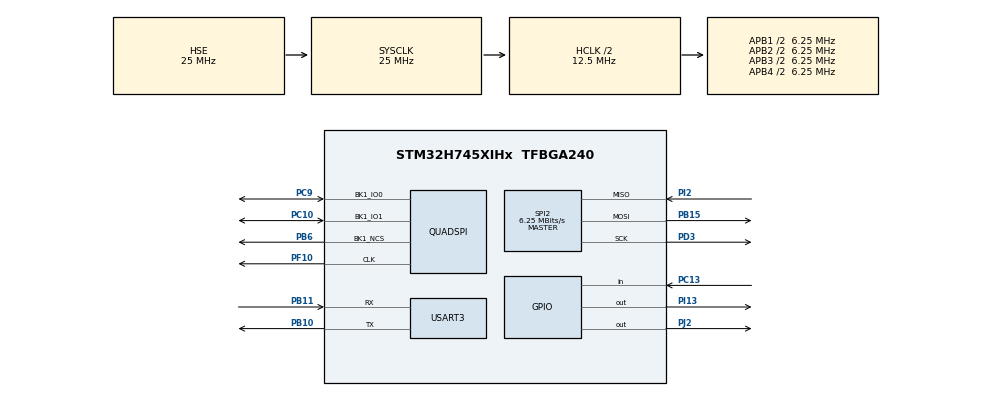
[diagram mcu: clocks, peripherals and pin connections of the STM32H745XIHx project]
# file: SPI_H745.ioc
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CortexM4.IPs=FATFS_M4\:I,FREERTOS_M4\:I,IWDG2\:I,RCC,USB_DEVICE_M4\:I,USB_HOST_M4\:I,WWDG2\:I,DMA,BDMA,MDMA,NVIC2\:I,ETH\:I,FDCAN1\:I,FDCAN2\:I,FMC\:I,SAI2\:I,SDMMC1\:I,LTDC\:I,USB_OTG_FS\:I,SAI4\:I,DEBUG,PDM2PCM_M4\:I,PWR,RESMGR_UTILITY,SYS_M4\:I,CORTEX_M4\:I,OPENAMP_M4\:I,VREFBUF
CortexM7.IPs=FATFS_M7\:I,FREERTOS_M7\:I,IWDG1\:I,RCC\:I,USB_DEVICE_M7\:I,USB_HOST_M7\:I,WWDG1\:I,DMA\:I,BDMA\:I,MDMA\:I,NVIC1\:I,CORTEX_M7\:I,DEBUG\:I,PDM2PCM_M7\:I,PWR\:I,RESMGR_UTILITY\:I,SYS\:I,OPENAMP_M7\:I,VREFBUF\:I,SPI2\:I,USART3\:I,QUADSPI\:I,I2C1\:I
CortexM7.Pins=PC13,PI13,PJ2
Dma.Request0=SPI2_RX
Dma.Request1=SPI2_TX
Dma.SPI2_RX.0.Direction=DMA_PERIPH_TO_MEMORY
Dma.SPI2_RX.0.EventEnable=DISABLE
Dma.SPI2_RX.0.FIFOMode=DMA_FIFOMODE_DISABLE
Dma.SPI2_RX.0.Instance=DMA1_Stream0
Dma.SPI2_RX.0.MemDataAlignment=DMA_MDATAALIGN_BYTE
Dma.SPI2_RX.0.MemInc=DMA_MINC_ENABLE
Dma.SPI2_RX.0.Mode=DMA_NORMAL
Dma.SPI2_RX.0.PeriphDataAlignment=DMA_PDATAALIGN_BYTE
Dma.SPI2_RX.0.PeriphInc=DMA_PINC_DISABLE
Dma.SPI2_RX.0.Polarity=HAL_DMAMUX_REQ_GEN_RISING
Dma.SPI2_RX.0.Priority=DMA_PRIORITY_LOW
Dma.SPI2_RX.0.RequestNumber=1
Dma.SPI2_RX.0.SignalID=NONE
Dma.SPI2_RX.0.SyncEnable=DISABLE
Dma.SPI2_RX.0.SyncPolarity=HAL_DMAMUX_SYNC_NO_EVENT
Dma.SPI2_RX.0.SyncRequestNumber=1
Dma.SPI2_RX.0.SyncSignalID=NONE
Dma.SPI2_TX.1.Direction=DMA_MEMORY_TO_PERIPH
Dma.SPI2_TX.1.EventEnable=DISABLE
Dma.SPI2_TX.1.FIFOMode=DMA_FIFOMODE_DISABLE
Dma.SPI2_TX.1.Instance=DMA1_Stream1
Dma.SPI2_TX.1.MemDataAlignment=DMA_MDATAALIGN_BYTE
Dma.SPI2_TX.1.MemInc=DMA_MINC_ENABLE
Dma.SPI2_TX.1.Mode=DMA_NORMAL
Dma.SPI2_TX.1.PeriphDataAlignment=DMA_PDATAALIGN_BYTE
Dma.SPI2_TX.1.PeriphInc=DMA_PINC_DISABLE
Dma.SPI2_TX.1.Polarity=HAL_DMAMUX_REQ_GEN_RISING
Dma.SPI2_TX.1.Priority=DMA_PRIORITY_LOW
Dma.SPI2_TX.1.RequestNumber=1
Dma.SPI2_TX.1.SignalID=NONE
Dma.SPI2_TX.1.SyncEnable=DISABLE
Dma.SPI2_TX.1.SyncPolarity=HAL_DMAMUX_SYNC_NO_EVENT
Dma.SPI2_TX.1.SyncRequestNumber=1
Dma.SPI2_TX.1.SyncSignalID=NONE
Mcu.Family=STM32H7
Mcu.Name=STM32H745XIHx
Mcu.Package=TFBGA240
Mdma.MDMA_Channel0.QUADSPI_FIFO_TH.0.BlockCount=0
Mdma.MDMA_Channel0.QUADSPI_FIFO_TH.0.BlockDataLength=0
Mdma.MDMA_Channel0.QUADSPI_FIFO_TH.0.BufferTransferLength=1
Mdma.MDMA_Channel0.QUADSPI_FIFO_TH.0.CircularMode=MDMA_LINEAR_LIST
Mdma.MDMA_Channel0.QUADSPI_FIFO_TH.0.DataAlignment=MDMA_DATAALIGN_PACKENABLE
Mdma.MDMA_Channel0.QUADSPI_FIFO_TH.0.DestBlockAddressOffset=0
Mdma.MDMA_Channel0.QUADSPI_FIFO_TH.0.DestBurst=MDMA_DEST_BURST_SINGLE
Mdma.MDMA_Channel0.QUADSPI_FIFO_TH.0.DestDataSize=MDMA_DEST_DATASIZE_BYTE
Mdma.MDMA_Channel0.QUADSPI_FIFO_TH.0.DestinationInc=MDMA_DEST_INC_BYTE
Mdma.MDMA_Channel0.QUADSPI_FIFO_TH.0.DstAddress=0
Mdma.MDMA_Channel0.QUADSPI_FIFO_TH.0.Endianness=MDMA_LITTLE_ENDIANNESS_PRESERVE
Mdma.MDMA_Channel0.QUADSPI_FIFO_TH.0.Instance=MDMA_Channel0
Mdma.MDMA_Channel0.QUADSPI_FIFO_TH.0.MaskAddress=0
Mdma.MDMA_Channel0.QUADSPI_FIFO_TH.0.MaskData=0
Mdma.MDMA_Channel0.QUADSPI_FIFO_TH.0.Priority=MDMA_PRIORITY_LOW
Mdma.MDMA_Channel0.QUADSPI_FIFO_TH.0.Rank=First
Mdma.MDMA_Channel0.QUADSPI_FIFO_TH.0.SourceBlockAddressOffset=0
Mdma.MDMA_Channel0.QUADSPI_FIFO_TH.0.SourceBurst=MDMA_SOURCE_BURST_SINGLE
Mdma.MDMA_Channel0.QUADSPI_FIFO_TH.0.SourceDataSize=MDMA_SRC_DATASIZE_BYTE
Mdma.MDMA_Channel0.QUADSPI_FIFO_TH.0.SourceInc=MDMA_SRC_INC_BYTE
Mdma.MDMA_Channel0.QUADSPI_FIFO_TH.0.SrcAddress=0
Mdma.MDMA_Channel0.QUADSPI_FIFO_TH.0.TransferTriggerMode=MDMA_BUFFER_TRANSFER
Mdma.MDMA_Channel0.Request0=QUADSPI_FIFO_TH
Mdma.MDMA_Channel0.RequestsNb=1
Mdma.RequestSet0=MDMA_Channel0
Mdma.RequestSetsNb=1
NVIC1.DMA1_Stream0_IRQn=true\:0\:0\:false\:false\:true\:false\:true
NVIC1.DMA1_Stream1_IRQn=true\:0\:0\:false\:false\:true\:false\:true
NVIC1.MDMA_IRQn=true\:0\:0\:false\:false\:true\:false\:true
NVIC1.PriorityGroup=NVIC_PRIORITYGROUP_4
NVIC1.QUADSPI_IRQn=true\:0\:0\:false\:false\:true\:true\:true
NVIC1.SPI2_IRQn=true\:0\:0\:false\:false\:true\:true\:true
NVIC2.PriorityGroup=NVIC_PRIORITYGROUP_4
PB10.Mode=Asynchronous
PB10.PinAttribute=CortexM7
PB10.Signal=USART3_TX
PB11.Mode=Asynchronous
PB11.PinAttribute=CortexM7
PB11.Signal=USART3_RX
PB15.GPIO_Speed=GPIO_SPEED_FREQ_HIGH
PB15.Mode=Full_Duplex_Master
PB15.PinAttribute=CortexM7
PB15.Signal=SPI2_MOSI
PB4\ (NJTRST).GPIO_Speed=GPIO_SPEED_FREQ_HIGH
PB4\ (NJTRST).PinAttribute=CortexM7
PB4\ (NJTRST).Signal=SPI2_NSS
PB6.Mode=Single Bank 1 2IOs
PB6.PinAttribute=CortexM7
PB6.Signal=QUADSPI_BK1_NCS
PC10.Mode=Single Bank 1 2IOs
PC10.PinAttribute=CortexM7
PC10.Signal=QUADSPI_BK1_IO1
PC13.PinAttribute=CortexM7
PC13.Signal=GPIO_Input
PC9.Mode=Single Bank 1 2IOs
PC9.PinAttribute=CortexM7
PC9.Signal=QUADSPI_BK1_IO0
PD3.GPIO_Speed=GPIO_SPEED_FREQ_HIGH
PD3.Mode=Full_Duplex_Master
PD3.PinAttribute=CortexM7
PD3.Signal=SPI2_SCK
PF10.Mode=Single Bank 1 2IOs
PF10.PinAttribute=CortexM7
PF10.Signal=QUADSPI_CLK
PH0-OSC_IN\ (PH0).Mode=HSE-External-Oscillator
PH0-OSC_IN\ (PH0).PinAttribute=CortexM7
PH0-OSC_IN\ (PH0).Signal=RCC_OSC_IN
PH1-OSC_OUT\ (PH1).Mode=HSE-External-Oscillator
PH1-OSC_OUT\ (PH1).PinAttribute=CortexM7
PH1-OSC_OUT\ (PH1).Signal=RCC_OSC_OUT
PI13.PinAttribute=CortexM7
PI13.Signal=GPIO_Output
PI2.GPIO_Speed=GPIO_SPEED_FREQ_HIGH
PI2.Mode=Full_Duplex_Master
PI2.PinAttribute=CortexM7
PI2.Signal=SPI2_MISO
PJ2.PinAttribute=CortexM7
PJ2.Signal=GPIO_Output
ProjectManager.HeapSize=M4-0x200,M7-0x200
ProjectManager.StackSize=M4-0x400,M7-0x400
ProjectManager.TargetToolchain=STM32CubeIDE
QUADSPI.ClockPrescaler=200
RCC.ADCFreq_Value=50390625
RCC.APB1Freq_Value=6250000
RCC.APB2Freq_Value=6250000
RCC.APB3Freq_Value=6250000
RCC.APB4Freq_Value=6250000
RCC.CortexFreq_Value=25000000
RCC.D1PPRE=RCC_APB3_DIV2
RCC.D2PPRE1=RCC_APB1_DIV2
RCC.D2PPRE2=RCC_APB2_DIV2
RCC.D3PPRE=RCC_APB4_DIV2
RCC.DIVM1=5
RCC.DIVN1=160
RCC.DIVN3=192
RCC.DIVQ1=4
RCC.DIVR1=4
RCC.HCLKFreq_Value=12500000
RCC.HPRE=RCC_HCLK_DIV2
RCC.PLL1_VCI_Range-AdvancedSettings=RCC_PLL1VCIRANGE_0
RCC.PLL2FRACN=0
RCC.PLL3FRACN=0
RCC.PLLFRACN=0
RCC.PLLSourceVirtual=RCC_PLLSOURCE_HSE
RCC.PWR_Regulator_Voltage_Scale=PWR_REGULATOR_VOLTAGE_SCALE1
RCC.SYSCLKFreq_VALUE=25000000
RCC.SYSCLKSource=RCC_SYSCLKSOURCE_HSE
RCC.SupplySource=PWR_DIRECT_SMPS_SUPPLY
RCC.USBFreq_Value=200000000
SPI2.BaudRatePrescaler=SPI_BAUDRATEPRESCALER_32
SPI2.CalculateBaudRate=6.25 MBits/s
SPI2.DataSize=SPI_DATASIZE_8BIT
SPI2.Direction=SPI_DIRECTION_2LINES
SPI2.FirstBit=SPI_FIRSTBIT_MSB
SPI2.Mode=SPI_MODE_MASTER
SPI2.NSSPMode=SPI_NSS_PULSE_DISABLE
SPI2.NSSPolarity=SPI_NSS_POLARITY_HIGH
SPI2.VirtualType=VM_MASTER
USART3.VirtualMode-Asynchronous=VM_ASYNC
VP_SYS_M4_VS_Systick.Mode=SysTick
board=STM32H745I-DISCO

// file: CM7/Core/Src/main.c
/* USER CODE BEGIN Header */
/**
  ******************************************************************************
  * @file           : main.c
  * @brief          : Main program body
  ******************************************************************************
  * @attention
  *
  * <h2><center>&copy; Copyright (c) 2023 STMicroelectronics.
  * All rights reserved.</center></h2>
  *
  * This software component is licensed by ST under BSD 3-Clause license,
  * the "License"; You may not use this file except in compliance with the
  * License. You may obtain a copy of the License at:
  *                        opensource.org/licenses/BSD-3-Clause
  *
  ******************************************************************************
  */
/* USER CODE END Header */
#include "main.h"

/* USER CODE BEGIN Includes */
#include <string.h>
#include <stdio.h>
/* USER CODE END Includes */

/* USER CODE BEGIN PTD */
//#ifdef __GNUC__
//
// #define PUTCHAR_PROTOTYPE int __io_putchar(int ch)
//
//#else
//  #define PUTCHAR_PROTOTYPE int fputc(int ch, FILE *f)
//
//#endif /* __GNUC__ */

#define FALSE 0
#define TRUE 1
/* USER CODE END PTD */

/* USER CODE BEGIN PD */

#ifndef HSEM_ID_0
#define HSEM_ID_0 (0U) /* HW semaphore 0*/
#endif
/* USER CODE END PD */

QSPI_HandleTypeDef hqspi;
MDMA_HandleTypeDef hmdma_quadspi_fifo_th;

SPI_HandleTypeDef hspi2;
DMA_HandleTypeDef hdma_spi2_rx;
DMA_HandleTypeDef hdma_spi2_tx;

UART_HandleTypeDef huart3;

void SystemClock_Config(void);
static void MX_GPIO_Init(void);
static void MX_DMA_Init(void);
static void MX_USART3_UART_Init(void);
static void MX_MDMA_Init(void);
static void MX_QUADSPI_Init(void);
static void MX_SPI2_Init(void);

/* USER CODE BEGIN 0 */
char Tx_Data[20]={0}, Rx_Data[20]={0},Rx_msg=0;
uint8_t flag=FALSE,i=0;
uint8_t pin_status=0;
/* USER CODE END 0 */

int main(void)
{
/* USER CODE BEGIN Boot_Mode_Sequence_0 */
//  int32_t timeout;
/* USER CODE END Boot_Mode_Sequence_0 */

/* USER CODE BEGIN Boot_Mode_Sequence_1 */
  /* Wait until CPU2 boots and enters in stop mode or timeout*/
//  timeout = 0xFFFF;
//  while((__HAL_RCC_GET_FLAG(RCC_FLAG_D2CKRDY) != RESET) && (timeout-- > 0));
//  if ( timeout < 0 )
//  {
//  Error_Handler();
//  }
/* USER CODE END Boot_Mode_Sequence_1 */
  /* MCU Configuration--------------------------------------------------------*/

  /* Reset of all peripherals, Initializes the Flash interface and the Systick. */
  HAL_Init();

  /* Configure the system clock */
  SystemClock_Config();
/* USER CODE BEGIN Boot_Mode_Sequence_2 */
///* When system initialization is finished, Cortex-M7 will release Cortex-M4 by means of
//HSEM notification */
///*HW semaphore Clock enable*/
//__HAL_RCC_HSEM_CLK_ENABLE();
///*Take HSEM */
//HAL_HSEM_FastTake(HSEM_ID_0);
///*Release HSEM in order to notify the CPU2(CM4)*/
//HAL_HSEM_Release(HSEM_ID_0,0);
///* wait until CPU2 wakes up from stop mode */
//timeout = 0xFFFF;
//while((__HAL_RCC_GET_FLAG(RCC_FLAG_D2CKRDY) == RESET) && (timeout-- > 0));
//if ( timeout < 0 )
//{
//Error_Handler();
//}
/* USER CODE END Boot_Mode_Sequence_2 */

  /* Initialize all configured peripherals */
  MX_GPIO_Init();
  MX_DMA_Init();
  MX_USART3_UART_Init();
  MX_MDMA_Init();
  MX_QUADSPI_Init();
  MX_SPI2_Init();
  /* USER CODE BEGIN 2 */
  sprintf((char *)Tx_Data, "ready to send\r\n");
  HAL_SPI_Transmit_DMA(&hspi2,(uint8_t *)Tx_Data,15);
  /* USER CODE END 2 */

  /* Infinite loop */
  /* USER CODE BEGIN WHILE */
  while (1)
  {
	  pin_status= HAL_GPIO_ReadPin(GPIOC, GPIO_PIN_13);

	  if (pin_status)
	  {
		  HAL_SPI_Receive_DMA(&hspi2, (uint8_t *)Rx_Data, 15);
//		  sprintf((char *)Tx_Data, "data send toA\r\n");
//		  HAL_SPI_Transmit_DMA(&hspi2, (uint8_t *)Tx_Data, 15);
          flag=TRUE;
		 // HAL_SPI_Transmit(&hspi2,"A",1, 50);
	  }
	  if(flag)
	  {
		  HAL_SPI_Receive_DMA(&hspi2, (uint8_t *)Rx_Data, 15);
		  HAL_UART_Transmit(&huart3, Rx_Data, sizeof(Rx_Data), 50);
		  flag=FALSE;
	  }

	  HAL_Delay(500);
    /* USER CODE END WHILE */

  }
}

void SystemClock_Config(void)
{
  RCC_OscInitTypeDef RCC_OscInitStruct = {0};
  RCC_ClkInitTypeDef RCC_ClkInitStruct = {0};

  /** Supply configuration update enable
  */
  HAL_PWREx_ConfigSupply(PWR_DIRECT_SMPS_SUPPLY);
  /** Configure the main internal regulator output voltage
  */
  __HAL_PWR_VOLTAGESCALING_CONFIG(PWR_REGULATOR_VOLTAGE_SCALE1);

  while(!__HAL_PWR_GET_FLAG(PWR_FLAG_VOSRDY)) {}
  /** Initializes the RCC Oscillators according to the specified parameters
  * in the RCC_OscInitTypeDef structure.
  */
  RCC_OscInitStruct.OscillatorType = RCC_OSCILLATORTYPE_HSE;
  RCC_OscInitStruct.HSEState = RCC_HSE_ON;
  RCC_OscInitStruct.PLL.PLLState = RCC_PLL_ON;
  RCC_OscInitStruct.PLL.PLLSource = RCC_PLLSOURCE_HSE;
  RCC_OscInitStruct.PLL.PLLM = 5;
  RCC_OscInitStruct.PLL.PLLN = 160;
  RCC_OscInitStruct.PLL.PLLP = 2;
  RCC_OscInitStruct.PLL.PLLQ = 4;
  RCC_OscInitStruct.PLL.PLLR = 4;
  RCC_OscInitStruct.PLL.PLLRGE = RCC_PLL1VCIRANGE_2;
  RCC_OscInitStruct.PLL.PLLVCOSEL = RCC_PLL1VCOWIDE;
  RCC_OscInitStruct.PLL.PLLFRACN = 0;
  if (HAL_RCC_OscConfig(&RCC_OscInitStruct) != HAL_OK)
  {
    Error_Handler();
  }
  /** Initializes the CPU, AHB and APB buses clocks
  */
  RCC_ClkInitStruct.ClockType = RCC_CLOCKTYPE_HCLK|RCC_CLOCKTYPE_SYSCLK
                              |RCC_CLOCKTYPE_PCLK1|RCC_CLOCKTYPE_PCLK2
                              |RCC_CLOCKTYPE_D3PCLK1|RCC_CLOCKTYPE_D1PCLK1;
  RCC_ClkInitStruct.SYSCLKSource = RCC_SYSCLKSOURCE_HSE;
  RCC_ClkInitStruct.SYSCLKDivider = RCC_SYSCLK_DIV1;
  RCC_ClkInitStruct.AHBCLKDivider = RCC_HCLK_DIV2;
  RCC_ClkInitStruct.APB3CLKDivider = RCC_APB3_DIV2;
  RCC_ClkInitStruct.APB1CLKDivider = RCC_APB1_DIV2;
  RCC_ClkInitStruct.APB2CLKDivider = RCC_APB2_DIV2;
  RCC_ClkInitStruct.APB4CLKDivider = RCC_APB4_DIV2;

  if (HAL_RCC_ClockConfig(&RCC_ClkInitStruct, FLASH_LATENCY_0) != HAL_OK)
  {
    Error_Handler();
  }
}

static void MX_QUADSPI_Init(void)
{

  /* QUADSPI parameter configuration*/
  hqspi.Instance = QUADSPI;
  hqspi.Init.ClockPrescaler = 200;
  hqspi.Init.FifoThreshold = 1;
  hqspi.Init.SampleShifting = QSPI_SAMPLE_SHIFTING_NONE;
  hqspi.Init.FlashSize = 1;
  hqspi.Init.ChipSelectHighTime = QSPI_CS_HIGH_TIME_1_CYCLE;
  hqspi.Init.ClockMode = QSPI_CLOCK_MODE_0;
  hqspi.Init.FlashID = QSPI_FLASH_ID_1;
  hqspi.Init.DualFlash = QSPI_DUALFLASH_DISABLE;
  if (HAL_QSPI_Init(&hqspi) != HAL_OK)
  {
    Error_Handler();
  }

}

static void MX_SPI2_Init(void)
{

  /* SPI2 parameter configuration*/
  hspi2.Instance = SPI2;
  hspi2.Init.Mode = SPI_MODE_MASTER;
  hspi2.Init.Direction = SPI_DIRECTION_2LINES;
  hspi2.Init.DataSize = SPI_DATASIZE_8BIT;
  hspi2.Init.CLKPolarity = SPI_POLARITY_LOW;
  hspi2.Init.CLKPhase = SPI_PHASE_1EDGE;
  hspi2.Init.NSS = SPI_NSS_SOFT;
  hspi2.Init.BaudRatePrescaler = SPI_BAUDRATEPRESCALER_32;
  hspi2.Init.FirstBit = SPI_FIRSTBIT_MSB;
  hspi2.Init.TIMode = SPI_TIMODE_DISABLE;
  hspi2.Init.CRCCalculation = SPI_CRCCALCULATION_DISABLE;
  hspi2.Init.CRCPolynomial = 0x0;
  hspi2.Init.NSSPMode = SPI_NSS_PULSE_DISABLE;
  hspi2.Init.NSSPolarity = SPI_NSS_POLARITY_HIGH;
  hspi2.Init.FifoThreshold = SPI_FIFO_THRESHOLD_01DATA;
  hspi2.Init.TxCRCInitializationPattern = SPI_CRC_INITIALIZATION_ALL_ZERO_PATTERN;
  hspi2.Init.RxCRCInitializationPattern = SPI_CRC_INITIALIZATION_ALL_ZERO_PATTERN;
  hspi2.Init.MasterSSIdleness = SPI_MASTER_SS_IDLENESS_00CYCLE;
  hspi2.Init.MasterInterDataIdleness = SPI_MASTER_INTERDATA_IDLENESS_00CYCLE;
  hspi2.Init.MasterReceiverAutoSusp = SPI_MASTER_RX_AUTOSUSP_DISABLE;
  hspi2.Init.MasterKeepIOState = SPI_MASTER_KEEP_IO_STATE_DISABLE;
  hspi2.Init.IOSwap = SPI_IO_SWAP_DISABLE;
  if (HAL_SPI_Init(&hspi2) != HAL_OK)
  {
    Error_Handler();
  }

}

static void MX_USART3_UART_Init(void)
{

  huart3.Instance = USART3;
  huart3.Init.BaudRate = 115200;
  huart3.Init.WordLength = UART_WORDLENGTH_8B;
  huart3.Init.StopBits = UART_STOPBITS_1;
  huart3.Init.Parity = UART_PARITY_NONE;
  huart3.Init.Mode = UART_MODE_TX_RX;
  huart3.Init.HwFlowCtl = UART_HWCONTROL_NONE;
  huart3.Init.OverSampling = UART_OVERSAMPLING_16;
  huart3.Init.OneBitSampling = UART_ONE_BIT_SAMPLE_DISABLE;
  huart3.Init.ClockPrescaler = UART_PRESCALER_DIV1;
  huart3.AdvancedInit.AdvFeatureInit = UART_ADVFEATURE_NO_INIT;
  if (HAL_UART_Init(&huart3) != HAL_OK)
  {
    Error_Handler();
  }
  if (HAL_UARTEx_SetTxFifoThreshold(&huart3, UART_TXFIFO_THRESHOLD_1_8) != HAL_OK)
  {
    Error_Handler();
  }
  if (HAL_UARTEx_SetRxFifoThreshold(&huart3, UART_RXFIFO_THRESHOLD_1_8) != HAL_OK)
  {
    Error_Handler();
  }
  if (HAL_UARTEx_DisableFifoMode(&huart3) != HAL_OK)
  {
    Error_Handler();
  }

}

static void MX_DMA_Init(void)
{

  /* DMA controller clock enable */
  __HAL_RCC_DMA1_CLK_ENABLE();

  /* DMA interrupt init */
  /* DMA1_Stream0_IRQn interrupt configuration */
  HAL_NVIC_SetPriority(DMA1_Stream0_IRQn, 0, 0);
  HAL_NVIC_EnableIRQ(DMA1_Stream0_IRQn);
  /* DMA1_Stream1_IRQn interrupt configuration */
  HAL_NVIC_SetPriority(DMA1_Stream1_IRQn, 0, 0);
  HAL_NVIC_EnableIRQ(DMA1_Stream1_IRQn);

}

/**
  * Enable MDMA controller clock
  */
static void MX_MDMA_Init(void)
{

  /* MDMA controller clock enable */
  __HAL_RCC_MDMA_CLK_ENABLE();
  /* Local variables */

  /* MDMA interrupt initialization */
  /* MDMA_IRQn interrupt configuration */
  HAL_NVIC_SetPriority(MDMA_IRQn, 0, 0);
  HAL_NVIC_EnableIRQ(MDMA_IRQn);

}

static void MX_GPIO_Init(void)
{
  GPIO_InitTypeDef GPIO_InitStruct = {0};

  /* GPIO Ports Clock Enable */
  __HAL_RCC_GPIOC_CLK_ENABLE();
  __HAL_RCC_GPIOB_CLK_ENABLE();
  __HAL_RCC_GPIOD_CLK_ENABLE();
  __HAL_RCC_GPIOI_CLK_ENABLE();
  __HAL_RCC_GPIOH_CLK_ENABLE();
  __HAL_RCC_GPIOF_CLK_ENABLE();
  __HAL_RCC_GPIOJ_CLK_ENABLE();

  /*Configure GPIO pin Output Level */
  HAL_GPIO_WritePin(GPIOI, GPIO_PIN_13, GPIO_PIN_RESET);

  /*Configure GPIO pin Output Level */
  HAL_GPIO_WritePin(GPIOJ, GPIO_PIN_2, GPIO_PIN_RESET);

  /*Configure GPIO pin : PC13 */
  GPIO_InitStruct.Pin = GPIO_PIN_13;
  GPIO_InitStruct.Mode = GPIO_MODE_INPUT;
  GPIO_InitStruct.Pull = GPIO_NOPULL;
  HAL_GPIO_Init(GPIOC, &GPIO_InitStruct);

  /*Configure GPIO pin : PI13 */
  GPIO_InitStruct.Pin = GPIO_PIN_13;
  GPIO_InitStruct.Mode = GPIO_MODE_OUTPUT_PP;
  GPIO_InitStruct.Pull = GPIO_NOPULL;
  GPIO_InitStruct.Speed = GPIO_SPEED_FREQ_LOW;
  HAL_GPIO_Init(GPIOI, &GPIO_InitStruct);

  /*Configure GPIO pin : PJ2 */
  GPIO_InitStruct.Pin = GPIO_PIN_2;
  GPIO_InitStruct.Mode = GPIO_MODE_OUTPUT_PP;
  GPIO_InitStruct.Pull = GPIO_NOPULL;
  GPIO_InitStruct.Speed = GPIO_SPEED_FREQ_LOW;
  HAL_GPIO_Init(GPIOJ, &GPIO_InitStruct);

}

/* USER CODE BEGIN 4 */
//void HAL_SPI_RxCpltCallback(SPI_HandleTypeDef *hspi)
//{
////	printf("%s\r\n",Rx_Data);
//	HAL_UART_Transmit(&huart3, Rx_Data, sizeof(Rx_Data), 50);
//	flag=TRUE;
//}
/*PUTCHAR_PROTOTYPE
{

  HAL_UART_Transmit(&huart3, (uint8_t *)&ch, 1, HAL_MAX_DELAY);

  return ch;
}/*
/* USER CODE END 4 */

void Error_Handler(void)
{
  __disable_irq();
  while (1)
  {
  }
}

/************************ (C) COPYRIGHT STMicroelectronics *****END OF FILE****/
